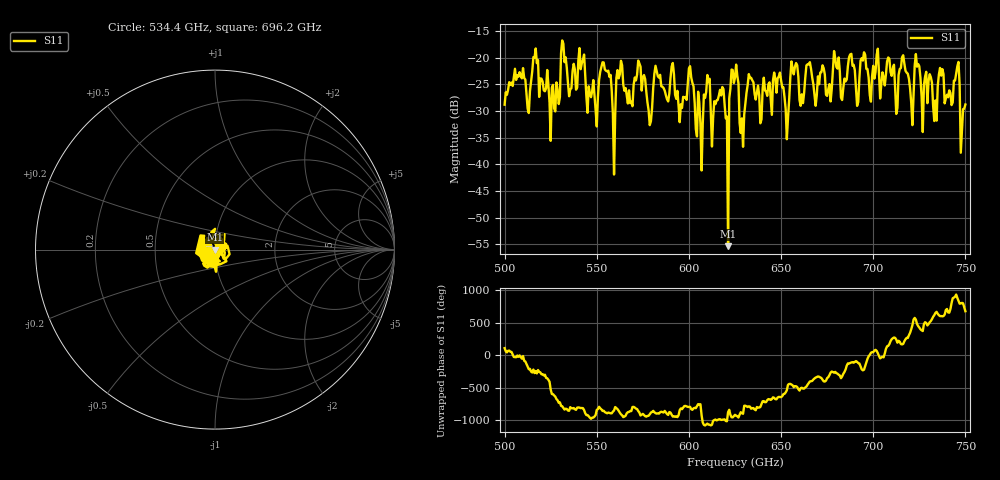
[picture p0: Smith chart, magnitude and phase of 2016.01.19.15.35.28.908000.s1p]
!Created with skrf (http://scikit-rf.org).
# GHz S RI R 50.0
!freq ReS11 ImS11
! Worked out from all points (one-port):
!   401 points, 500 GHz to 750 GHz, reference 50 ohm
!   lowest |S11| = -55.4 dB at 621.2 GHz (marker M1), VSWR 1.00, Z = 49.8 - j0.069 ohm
!   |S11| at or under -10 dB: start of sweep to end of sweep
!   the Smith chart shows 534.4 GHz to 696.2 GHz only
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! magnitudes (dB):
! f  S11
! 500 GHz  -28.8
! 513.1 GHz  -30.4
! 516.9 GHz  -18.2
! 526.2 GHz  -25.1
! 531.2 GHz  -16.7
! 549.4 GHz  -29.8
! 554.4 GHz  -22.2
! 559.4 GHz  -41.9
! 562.5 GHz  -23.1
! 593.8 GHz  -26.2
! 601.2 GHz  -23.7
! 605.6 GHz  -28.4
! 617.5 GHz  -27.1
! 621.2 GHz  -55.4
! 625 GHz  -23.7
! 628.8 GHz  -31.4
! 633.1 GHz  -23.8
! 649.4 GHz  -22.8
! 653.1 GHz  -35.3
! 656.2 GHz  -22.0
! 661.2 GHz  -26.8
! 665 GHz  -21.2
! 675.6 GHz  -25.8
! 687.5 GHz  -19.3
! 718.8 GHz  -23.0
! 733.8 GHz  -28.0
! 745 GHz  -22.9
! 750 GHz  -28.8
